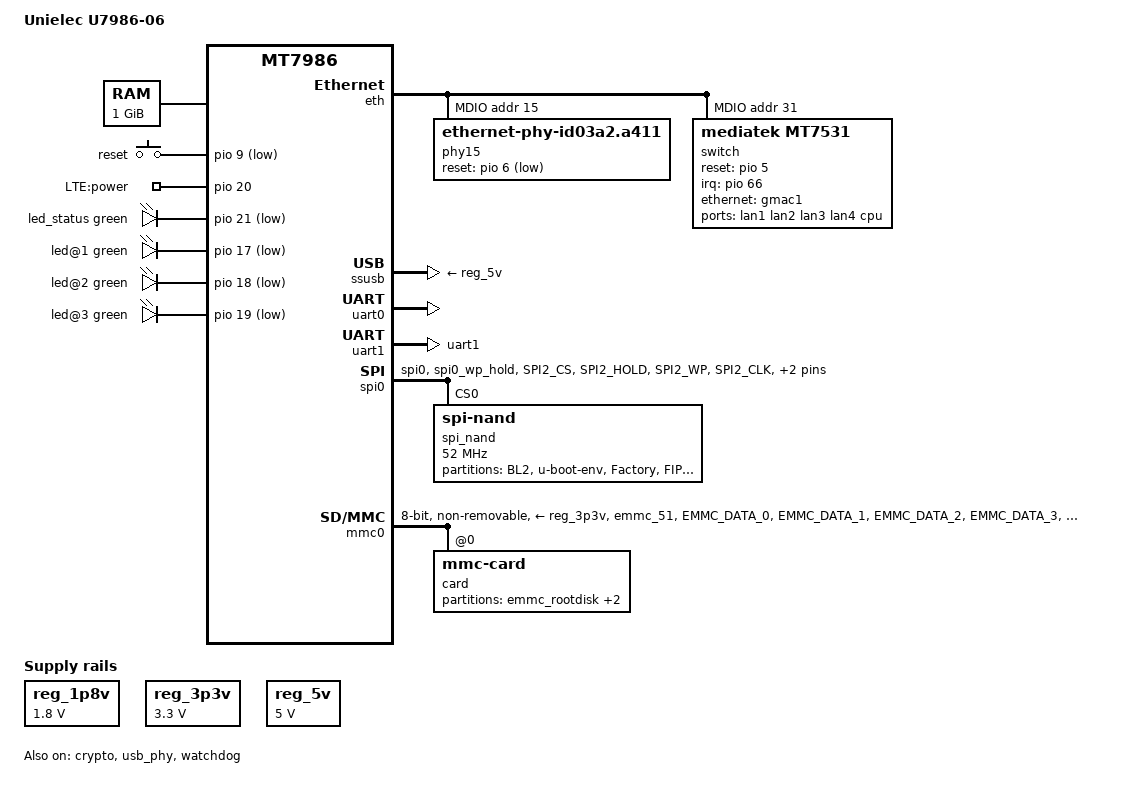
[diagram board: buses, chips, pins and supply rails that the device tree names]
// SPDX-License-Identifier: (GPL-2.0 OR MIT)
/*
 * Copyright (C) 2023 Allen Zhao <allenzhao@unielecinc.com>
 */

/dts-v1/;
#include <dt-bindings/input/input.h>
#include <dt-bindings/gpio/gpio.h>
#include <dt-bindings/leds/common.h>
#include <dt-bindings/pinctrl/mt65xx.h>

#include "mt7986a.dtsi"

/ {
	model = "Unielec U7986-06";
	compatible = "unielec,u7986-06", "mediatek,mt7986";

	aliases {
		serial0 = &uart0;
		label-mac-device = &gmac1;

		led-boot = &led_status;
		led-failsafe = &led_status;
		led-running = &led_status;
		led-upgrade = &led_status;
	};

	chosen {
		stdout-path = "serial0:115200n8";
	};

	memory@40000000 {
		reg = <0 0x40000000 0 0x40000000>;
		device_type = "memory";
	};

	gpio-keys {
		compatible = "gpio-keys";

		button-reset {
			label = "reset";
			linux,code = <KEY_RESTART>;
			gpios = <&pio 9 GPIO_ACTIVE_LOW>;
		};
	};

	gpio-export {
		compatible = "gpio-export";

		out {
			gpio-export,name = "LTE:power";
			gpio-export,output = <1>;
			gpios = <&pio 20 GPIO_ACTIVE_HIGH>;
		};
	};

	leds {
		compatible = "gpio-leds";

		led_status: led@0 {
			color = <LED_COLOR_ID_GREEN>;
			function = LED_FUNCTION_STATUS;
			gpios = <&pio 21 GPIO_ACTIVE_LOW>;
		};

		led@1 {
			color = <LED_COLOR_ID_GREEN>;
			function = LED_FUNCTION_INDICATOR;
			function-enumerator = <0>;
			gpios = <&pio 17 GPIO_ACTIVE_LOW>;
		};

		led@2 {
			color = <LED_COLOR_ID_GREEN>;
			function = LED_FUNCTION_INDICATOR;
			function-enumerator = <1>;
			gpios = <&pio 18 GPIO_ACTIVE_LOW>;
		};

		led@3 {
			color = <LED_COLOR_ID_GREEN>;
			function = LED_FUNCTION_MOBILE;
			gpios = <&pio 19 GPIO_ACTIVE_LOW>;
		};
	};

	reg_1p8v: regulator-1p8v {
		compatible = "regulator-fixed";
		regulator-name = "fixed-1.8V";
		regulator-min-microvolt = <1800000>;
		regulator-max-microvolt = <1800000>;
		regulator-boot-on;
		regulator-always-on;
	};

	reg_3p3v: regulator-3p3v {
		compatible = "regulator-fixed";
		regulator-name = "fixed-3.3V";
		regulator-min-microvolt = <3300000>;
		regulator-max-microvolt = <3300000>;
		regulator-boot-on;
		regulator-always-on;
	};

	reg_5v: regulator-5v {
		compatible = "regulator-fixed";
		regulator-name = "fixed-5V";
		regulator-min-microvolt = <5000000>;
		regulator-max-microvolt = <5000000>;
		regulator-boot-on;
		regulator-always-on;
	};
};

&eth {
	status = "okay";

	gmac0: mac@0 {
		compatible = "mediatek,eth-mac";
		reg = <0>;
		phy-handle = <&phy15>;
		phy-mode = "2500base-x";
		status = "disabled";
	};

	gmac1: mac@1 {
		compatible = "mediatek,eth-mac";
		reg = <1>;
		phy-mode = "2500base-x";
		status = "disabled";

		fixed-link {
			speed = <2500>;
			full-duplex;
			pause;
		};
	};

	mdio: mdio-bus {
		#address-cells = <1>;
		#size-cells = <0>;

		phy15: phy@f {
			compatible = "ethernet-phy-id03a2.a411";
			reg = <15>;
			phy-mode = "2500base-x";
			full-duplex;
			pause;

			reset-gpios = <&pio 6 GPIO_ACTIVE_LOW>;
			reset-assert-us = <10000>;
			reset-deassert-us = <20000>;
		};

		switch@1f {
			compatible = "mediatek,mt7531";
			reg = <31>;
			reset-gpios = <&pio 5 GPIO_ACTIVE_HIGH>;
			interrupt-controller;
			#interrupt-cells = <1>;
			interrupt-parent = <&pio>;
			interrupts = <66 IRQ_TYPE_LEVEL_HIGH>;

			ports {
				#address-cells = <1>;
				#size-cells = <0>;

				port@0 {
					reg = <0>;
					label = "lan1";
				};

				port@1 {
					reg = <1>;
					label = "lan2";
				};

				port@3 {
					reg = <3>;
					label = "lan3";
				};

				port@4 {
					reg = <4>;
					label = "lan4";
				};

				port@6 {
					reg = <6>;
					label = "cpu";
					ethernet = <&gmac1>;
					phy-mode = "2500base-x";

					fixed-link {
						speed = <2500>;
						full-duplex;
						pause;
					};
				};
			};
		};
	};
};

&wifi {
	pinctrl-names = "default";
	pinctrl-0 = <&wf_2g_5g_pins>;
	status = "disabled";
};

&crypto {
	status = "okay";
};

&pio {
	mmc0_pins_default: mmc0-pins {
		mux {
			function = "emmc";
			groups = "emmc_51";
		};
		conf-cmd-dat {
			pins = "EMMC_DATA_0", "EMMC_DATA_1", "EMMC_DATA_2",
			       "EMMC_DATA_3", "EMMC_DATA_4", "EMMC_DATA_5",
			       "EMMC_DATA_6", "EMMC_DATA_7", "EMMC_CMD";
			input-enable;
			drive-strength = <MTK_DRIVE_4mA>;
			bias-pull-up = <MTK_PUPD_SET_R1R0_01>;	/* pull-up 10K */
		};
		conf-clk {
			pins = "EMMC_CK";
			drive-strength = <MTK_DRIVE_6mA>;
			bias-pull-down = <MTK_PUPD_SET_R1R0_10>;	/* pull-down 50K */
		};
		conf-ds {
			pins = "EMMC_DSL";
			bias-pull-down = <MTK_PUPD_SET_R1R0_10>;	/* pull-down 50K */
		};
		conf-rst {
			pins = "EMMC_RSTB";
			drive-strength = <MTK_DRIVE_4mA>;
			bias-pull-up = <MTK_PUPD_SET_R1R0_01>;	/* pull-up 10K */
		};
	};

	mmc0_pins_uhs: mmc0-uhs-pins {
		mux {
			function = "emmc";
			groups = "emmc_51";
		};
		conf-cmd-dat {
			pins = "EMMC_DATA_0", "EMMC_DATA_1", "EMMC_DATA_2",
			       "EMMC_DATA_3", "EMMC_DATA_4", "EMMC_DATA_5",
			       "EMMC_DATA_6", "EMMC_DATA_7", "EMMC_CMD";
			input-enable;
			drive-strength = <MTK_DRIVE_4mA>;
			bias-pull-up = <MTK_PUPD_SET_R1R0_01>;	/* pull-up 10K */
		};
		conf-clk {
			pins = "EMMC_CK";
			drive-strength = <MTK_DRIVE_6mA>;
			bias-pull-down = <MTK_PUPD_SET_R1R0_10>;	/* pull-down 50K */
		};
		conf-ds {
			pins = "EMMC_DSL";
			bias-pull-down = <MTK_PUPD_SET_R1R0_10>;	/* pull-down 50K */
		};
		conf-rst {
			pins = "EMMC_RSTB";
			drive-strength = <MTK_DRIVE_4mA>;
			bias-pull-up = <MTK_PUPD_SET_R1R0_01>;	/* pull-up 10K */
		};
	};

	spi_flash_pins: spi-flash-pins-33-to-38 {
		mux {
			function = "spi";
			groups = "spi0", "spi0_wp_hold";
		};
		conf-pu {
			pins = "SPI2_CS", "SPI2_HOLD", "SPI2_WP";
			drive-strength = <MTK_DRIVE_4mA>;
			bias-disable;	/* bias-disable */
		};
		conf-pd {
			pins = "SPI2_CLK", "SPI2_MOSI", "SPI2_MISO";
			drive-strength = <MTK_DRIVE_4mA>;
			bias-disable;	/* bias-disable */
		};
	};

	uart1_pins: uart1-pins {
		mux {
			function = "uart";
			groups = "uart1";
		};
	};

	wf_2g_5g_pins: wf_2g_5g-pins {
		mux {
			function = "wifi";
			groups = "wf_2g", "wf_5g";
		};
		conf {
			pins = "WF0_HB1", "WF0_HB2", "WF0_HB3", "WF0_HB4",
			       "WF0_HB0", "WF0_HB0_B", "WF0_HB5", "WF0_HB6",
			       "WF0_HB7", "WF0_HB8", "WF0_HB9", "WF0_HB10",
			       "WF0_TOP_CLK", "WF0_TOP_DATA", "WF1_HB1",
			       "WF1_HB2", "WF1_HB3", "WF1_HB4", "WF1_HB0",
			       "WF1_HB5", "WF1_HB6", "WF1_HB7", "WF1_HB8",
			       "WF1_TOP_CLK", "WF1_TOP_DATA";
			drive-strength = <MTK_DRIVE_4mA>;
		};
	};
};

&ssusb {
	vusb33-supply = <&reg_3p3v>;
	vbus-supply = <&reg_5v>;
	status = "okay";
};

&uart0 {
	status = "okay";
};

&uart1 {
	pinctrl-names = "default";
	pinctrl-0 = <&uart1_pins>;
	status = "okay";
};

&usb_phy {
	status = "okay";
};

&watchdog {
	status = "okay";
};

&spi0 {
	pinctrl-names = "default";
	pinctrl-0 = <&spi_flash_pins>;
	status = "okay";

	spi_nand: flash@0 {
		compatible = "spi-nand";
		reg = <0>;
		#address-cells = <1>;
		#size-cells = <1>;
		spi-max-frequency = <52000000>;
		spi-rx-bus-width = <4>;
		spi-tx-bus-width = <4>;
		mediatek,nmbm;
		mediatek,bmt-max-ratio = <1>;
		mediatek,bmt-max-reserved-blocks = <64>;

		partitions {
			compatible = "fixed-partitions";
			#address-cells = <1>;
			#size-cells = <1>;

			partition@0 {
				label = "BL2";
				reg = <0x00000 0x0100000>;
				read-only;
			};

			partition@100000 {
				label = "u-boot-env";
				reg = <0x0100000 0x0080000>;
			};

			partition@180000 {
				label = "Factory";
				reg = <0x180000 0x200000>;
				read-only;

				nvmem-layout {
					compatible = "fixed-layout";
					#address-cells = <1>;
					#size-cells = <1>;

					nand_eeprom_factory_0: eeprom@0 {
						reg = <0x0 0x1000>;
					};

					nand_macaddr_factory_4: macaddr@4 {
						compatible = "mac-base";
						reg = <0x4 0x6>;
						#nvmem-cell-cells = <1>;
					};
				};
			};

			partition@380000 {
				label = "FIP";
				reg = <0x380000 0x200000>;
			};

			nand_ubi: partition@580000 {
				label = "ubi";
				reg = <0x580000 0x4000000>;
				compatible = "linux,ubi";

				volumes {
					nand_rootdisk: ubi-volume-fit {
						volname = "fit";
					};
				};
			};
		};
	};
};

&mmc0 {
	#address-cells = <1>;
	#size-cells = <0>;
	pinctrl-names = "default", "state_uhs";
	pinctrl-0 = <&mmc0_pins_default>;
	pinctrl-1 = <&mmc0_pins_uhs>;
	bus-width = <8>;
	max-frequency = <200000000>;
	cap-mmc-highspeed;
	mmc-hs200-1_8v;
	mmc-hs400-1_8v;
	hs400-ds-delay = <0x14014>;
	vmmc-supply = <&reg_3p3v>;
	vqmmc-supply = <&reg_1p8v>;
	non-removable;
	no-sd;
	no-sdio;
	status = "okay";

	card@0 {
		compatible = "mmc-card";
		reg = <0>;

		block {
			compatible = "block-device";
			partitions {
				emmc_rootdisk: block-partition-production {
					partname = "production";
				};

				block-partition-env {
					partname = "u-boot-env";

					nvmem-layout {
						compatible = "u-boot,env";
					};
				};

				block-partition-factory {
					partname = "factory";

					nvmem-layout {
						compatible = "fixed-layout";
						#address-cells = <1>;
						#size-cells = <1>;

						emmc_eeprom_factory_0: eeprom@0 {
							reg = <0x0 0x1000>;
						};

						emmc_macaddr_factory_4: macaddr@4 {
							compatible = "mac-base";
							reg = <0x4 0x6>;
							#nvmem-cell-cells = <1>;
						};
					};
				};
			};
		};
	};
};
